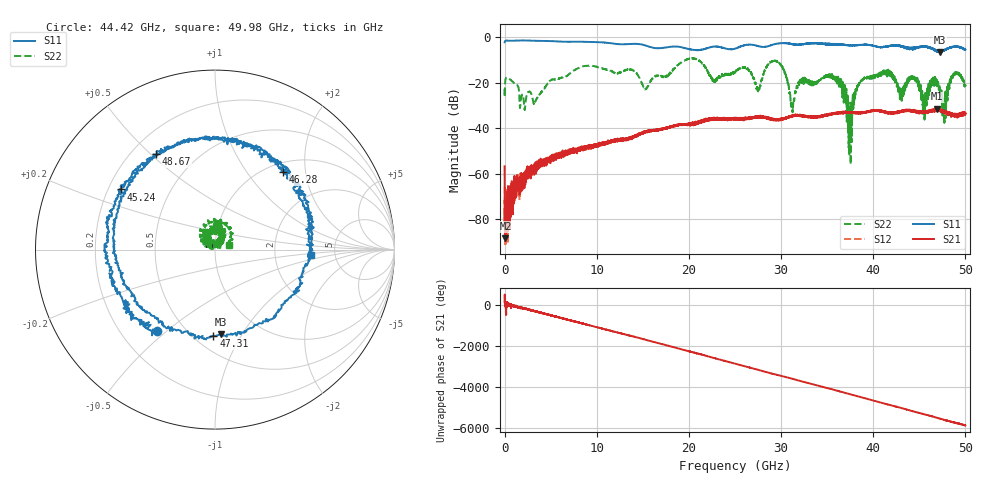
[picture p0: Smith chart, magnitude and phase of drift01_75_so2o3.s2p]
!Created with skrf (http://scikit-rf.org).
# Hz S RI R 50.0
!freq ReS11 ImS11 ReS21 ImS21 ReS12 ImS12 ReS22 ImS22
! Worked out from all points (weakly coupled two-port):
!   10001 points, 300 kHz to 50 GHz, reference 50 ohm
!   highest |S21| = -31.42 dB at 46.92 GHz (marker M1); lowest = -88.6 dB at 90.3 MHz (marker M2)
!   lowest |S11| = -6.5 dB at 47.28 GHz (marker M3), VSWR 2.79, Z = 33.6 - j40.7 ohm
!   |S11| at or under -10 dB: nowhere
!   |S22| runs from -56.0 to -9.2 dB; largest |S21 - S12| = 0.0038
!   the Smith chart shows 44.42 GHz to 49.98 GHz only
!   S11 on the Smith chart (normalised r, x): 44.42 GHz: 0.35, -0.46; 45.24 GHz: 0.25, +0.27; 46.28 GHz: 1.17, +1.51; 47.31 GHz: 0.62, -0.77; 48.67 GHz: 0.30, +0.52; 49.98 GHz: 3.27, -0.26
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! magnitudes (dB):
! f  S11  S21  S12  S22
! 300 kHz  -2.1  -56.8  -65.9  -22.7
! 90.3 MHz  -1.5  -88.6  -92.0  -18.6
! 3.29 GHz  -1.5  -59.5  -56.6  -28.8
! 8.335 GHz  -1.9  -48.8  -49.2  -12.9
! 16.67 GHz  -4.8  -40.8  -40.8  -16.7
! 25 GHz  -5.0  -36.2  -35.8  -15.3
! 29.58 GHz  -2.8  -36.2  -36.5  -10.7
! 31.23 GHz  -3.0  -34.5  -34.6  -32.0
! 33.34 GHz  -2.6  -35.0  -34.9  -20.3
! 36.14 GHz  -3.0  -33.4  -33.4  -19.8
! 37.49 GHz  -3.5  -33.0  -33.1  -34.0
! 38.66 GHz  -3.3  -33.3  -33.2  -19.2
! 41.67 GHz  -3.8  -33.0  -33.2  -16.3
! 44.42 GHz  -5.1  -32.9  -32.5  -17.3
! 45.24 GHz  -4.1  -32.7  -33.3  -27.2
! 46.28 GHz  -4.8  -32.4  -32.4  -20.2
! 46.92 GHz  -6.0  -31.4  -31.9  -20.3
! 47.28 GHz  -6.5  -32.4  -32.4  -23.9
! 47.31 GHz  -6.4  -32.2  -32.3  -25.1
! 48.67 GHz  -4.1  -34.3  -33.7  -16.5
! 49.98 GHz  -5.4  -33.4  -33.1  -21.6
! 50 GHz  -5.4  -33.7  -33.6  -21.1
